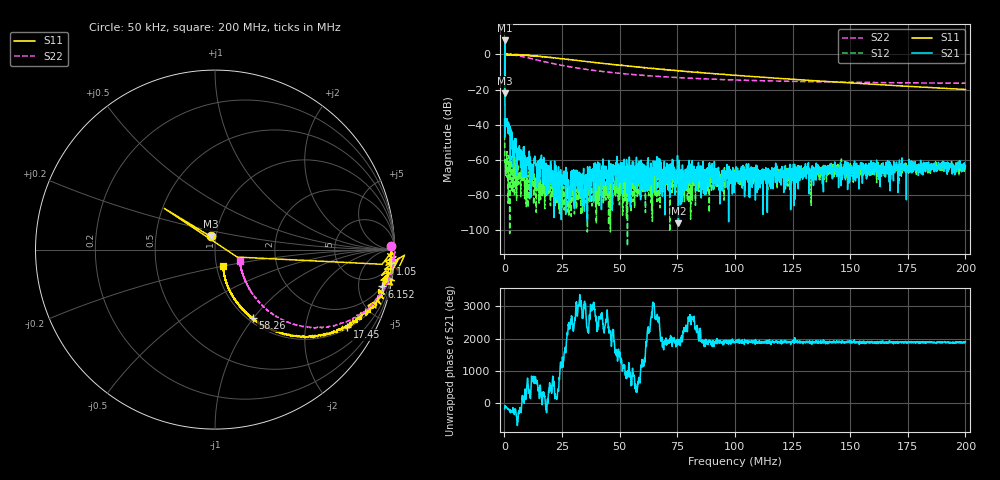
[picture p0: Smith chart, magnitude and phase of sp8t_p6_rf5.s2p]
! 26-Feb-26 12:29:13 PM
! E:\VNA_MEASUREMENTS\SP8T\SP8T_P6_RF5.S2P
! CHANNEL.1
! TR.MEASUREMENT
! CORRECTED.DATA
# GHZ S RI R 50.0
! FREQ.GHZ  S11RE  S11IM  S21RE  S21IM  S12RE  S12IM  S22RE  S22IM
!; PortSelection: Port_12
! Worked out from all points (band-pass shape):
!   2000 points, 50 kHz to 200 MHz, reference 50 ohm
!   highest |S21| = 7.94 dB at 150 kHz (marker M1); lowest = -95.9 dB at 75.47 MHz (marker M2)
!   |S21| within 3 dB of the highest: 134.2 kHz to 155.5 kHz (21.29 kHz wide, 14.7 % of centre)
!   lowest |S11| = -22.2 dB at 50 kHz (marker M3), VSWR 1.17, Z = 47.1 + j6.99 ohm
!   |S11| at or under -10 dB: start of sweep to 140.9 kHz; 163.7 kHz to 295 kHz (131.3 kHz wide, 57.2 % of centre); 81.74 MHz to end of sweep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
!   |S22| runs from -16.4 to 0.1 dB; largest |S21 - S12| = 2.5
!   S11 on the Smith chart (normalised r, x): 50 kHz: 0.94, +0.14; 1.05 MHz: 6, -24; 6.152 MHz: 1.94, -8.75; 17.45 MHz: 1.07, -3.37; 58.26 MHz: 1.05, -0.99; 200 MHz: 1.08, -0.19
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5e-05  -0.0251 0.0739  -0.2793 -0.0299  -0.0136 -0.00728  0.9785 0.0205
0.000150025  -0.2823 0.2296  -0.0607 -2.493  8.43e-05 0.000861  1.001 -1.9e-06
0.00105025  0.9783 -0.0773  -0.011 -0.0102  -0.000979 0.00143  0.9918 -0.06
0.0032508  0.9818 -0.1173  -0.00366 0.00337  -0.000385 4.84e-05  0.9523 -0.1999
0.006151526  0.9311 -0.2054  0.00178 0.000973  -4.4e-06 -0.000203  0.854 -0.3293
0.01745435  0.7353 -0.431  -0.000312 -0.000449  -1.18e-05 3.96e-05  0.4529 -0.4219
0.0220555  0.6403 -0.4701  3.52e-05 -7.87e-05  0.000121 0.000184  0.3656 -0.3861
0.02615653  0.5562 -0.4771  -0.000376 0.000272  8.96e-05 -6.98e-05  0.313 -0.3542
0.02855713  0.5166 -0.4892  -0.000123 -7.83e-05  5.08e-05 1.35e-05  0.2903 -0.3361
0.03345835  0.4407 -0.4802  0.00018 0.00015  -0.000133 0.000113  0.2531 -0.3015
0.05826456  0.2091 -0.3805  6.18e-05 0.000604  -0.000203 0.000412  0.1763 -0.1913
0.06676668  0.1687 -0.3476  0.000333 0.00053  -0.000105 0.000287  0.1672 -0.1691
0.06866716  0.1639 -0.3427  0.00021 0.000358  -0.000417 0.000132  0.1652 -0.1649
0.07546886  0.1394 -0.3175  -1.59e-05 2.3e-06  -0.000149 4.97e-05  0.1597 -0.15
0.07726931  0.1316 -0.3062  -0.000692 8.09e-05  5.7e-06 0.000225  0.1577 -0.1476
0.08117028  0.1215 -0.2939  -0.000448 0.000321  2.44e-05 0.000101  0.1561 -0.141
0.09397349  0.0957 -0.2564  -5.05e-05 0.000196  -0.000181 0.00016  0.1494 -0.123
0.09587396  0.0923 -0.2521  -0.000112 0.000372  1.49e-05 0.000449  0.1485 -0.1195
0.100075  0.0879 -0.2406  0.000128 0.000314  1.81e-05 0.000552  0.1481 -0.1165
0.1333833  0.0592 -0.1714  0.000235 0.000103  0.000187 0.000356  0.1423 -0.0899
0.1666917  0.0488 -0.1243  -5.37e-05 0.000482  4.05e-05 0.000371  0.1398 -0.0734
0.2  0.0462 -0.0889  -3.54e-05 0.0007  0.000184 0.00057  0.1381 -0.0618
